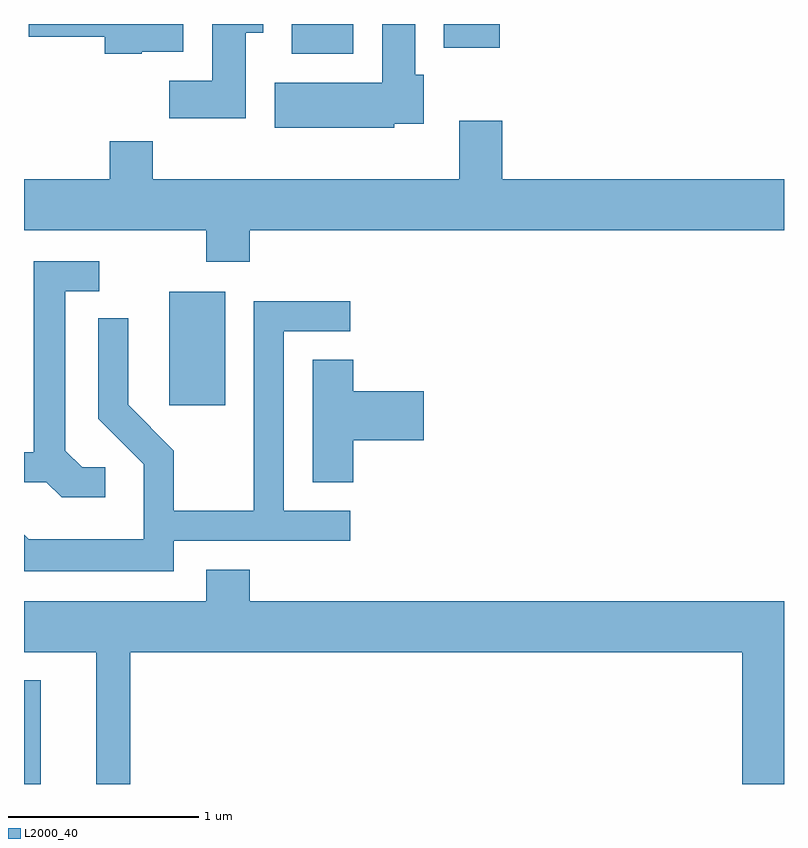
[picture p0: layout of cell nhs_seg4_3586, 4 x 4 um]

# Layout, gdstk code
import gdstk
lib = gdstk.Library(unit=1e-6, precision=1e-09)
def R(c, l, rs):  # rectangles x0, y0, x1, y1
    for r in rs: c.add(gdstk.rectangle(r[:2], r[2:], *l))
def P(c, l, *ps):  # polygons
    for p in ps: c.add(gdstk.Polygon(p, *l))
L2000_40 = (2000, 40)

nhs_seg4_3586 = lib.new_cell('nhs_seg4_3586')
R(nhs_seg4_3586, L2000_40, [(289.611,1353.982,289.699,1354.528), (290.376,1355.976,290.669,1356.574), (291.021,1357.826,291.344,1357.982), (291.821,1357.856,292.114,1357.982)])
P(nhs_seg4_3586, L2000_40, [(290.779,1357.936),(290.869,1357.936),(290.869,1357.982),(290.601,1357.982),(290.601,1357.684),(290.376,1357.684),(290.376,1357.486),(290.779,1357.486)],
  [(291.559,1357.456),(291.714,1357.456),(291.714,1357.714),(291.669,1357.714),(291.669,1357.982),(291.496,1357.982),(291.496,1357.674),(290.931,1357.674),(290.931,1357.436),(291.559,1357.436)],
  [(290.23,1357.836),(290.449,1357.836),(290.449,1357.982),(289.636,1357.982),(289.636,1357.916),(290.036,1357.916),(290.036,1357.826),(290.23,1357.826)],
  [(290.799,1356.896),(293.611,1356.896),(293.611,1357.164),(292.129,1357.164),(292.129,1357.474),(291.901,1357.474),(291.901,1357.164),(290.289,1357.164),(290.289,1357.364),(290.061,1357.364),(290.061,1357.164),(289.611,1357.164),(289.611,1356.896),(290.571,1356.896),(290.571,1356.731),(290.799,1356.731)],
  [(290.038,1355.649),(289.917,1355.649),(289.829,1355.737),(289.829,1356.576),(290.008,1356.576),(290.008,1356.734),(289.661,1356.734),(289.661,1355.729),(289.611,1355.729),(289.611,1355.571),(289.729,1355.571),(289.809,1355.491),(290.038,1355.491)],
  [(290.399,1355.261),(291.328,1355.261),(291.328,1355.419),(290.979,1355.419),(290.979,1356.366),(291.328,1356.366),(291.328,1356.524),(290.821,1356.524),(290.821,1355.419),(290.399,1355.419),(290.399,1355.737),(290.159,1355.977),(290.159,1356.433),(290.001,1356.433),(290.001,1355.904),(290.241,1355.664),(290.241,1355.269),(289.637,1355.269),(289.611,1355.295),(289.611,1355.101),(290.399,1355.101)],
  [(291.344,1355.791),(291.714,1355.791),(291.714,1356.049),(291.344,1356.049),(291.344,1356.214),(291.131,1356.214),(291.131,1355.571),(291.344,1355.571)],
  [(290.169,1354.676),(293.391,1354.676),(293.391,1353.982),(293.611,1353.982),(293.611,1354.944),(290.799,1354.944),(290.799,1355.109),(290.571,1355.109),(290.571,1354.944),(289.611,1354.944),(289.611,1354.676),(289.991,1354.676),(289.991,1353.982),(290.169,1353.982)])

lib.write_gds('nhs_seg4_3586.gds')
